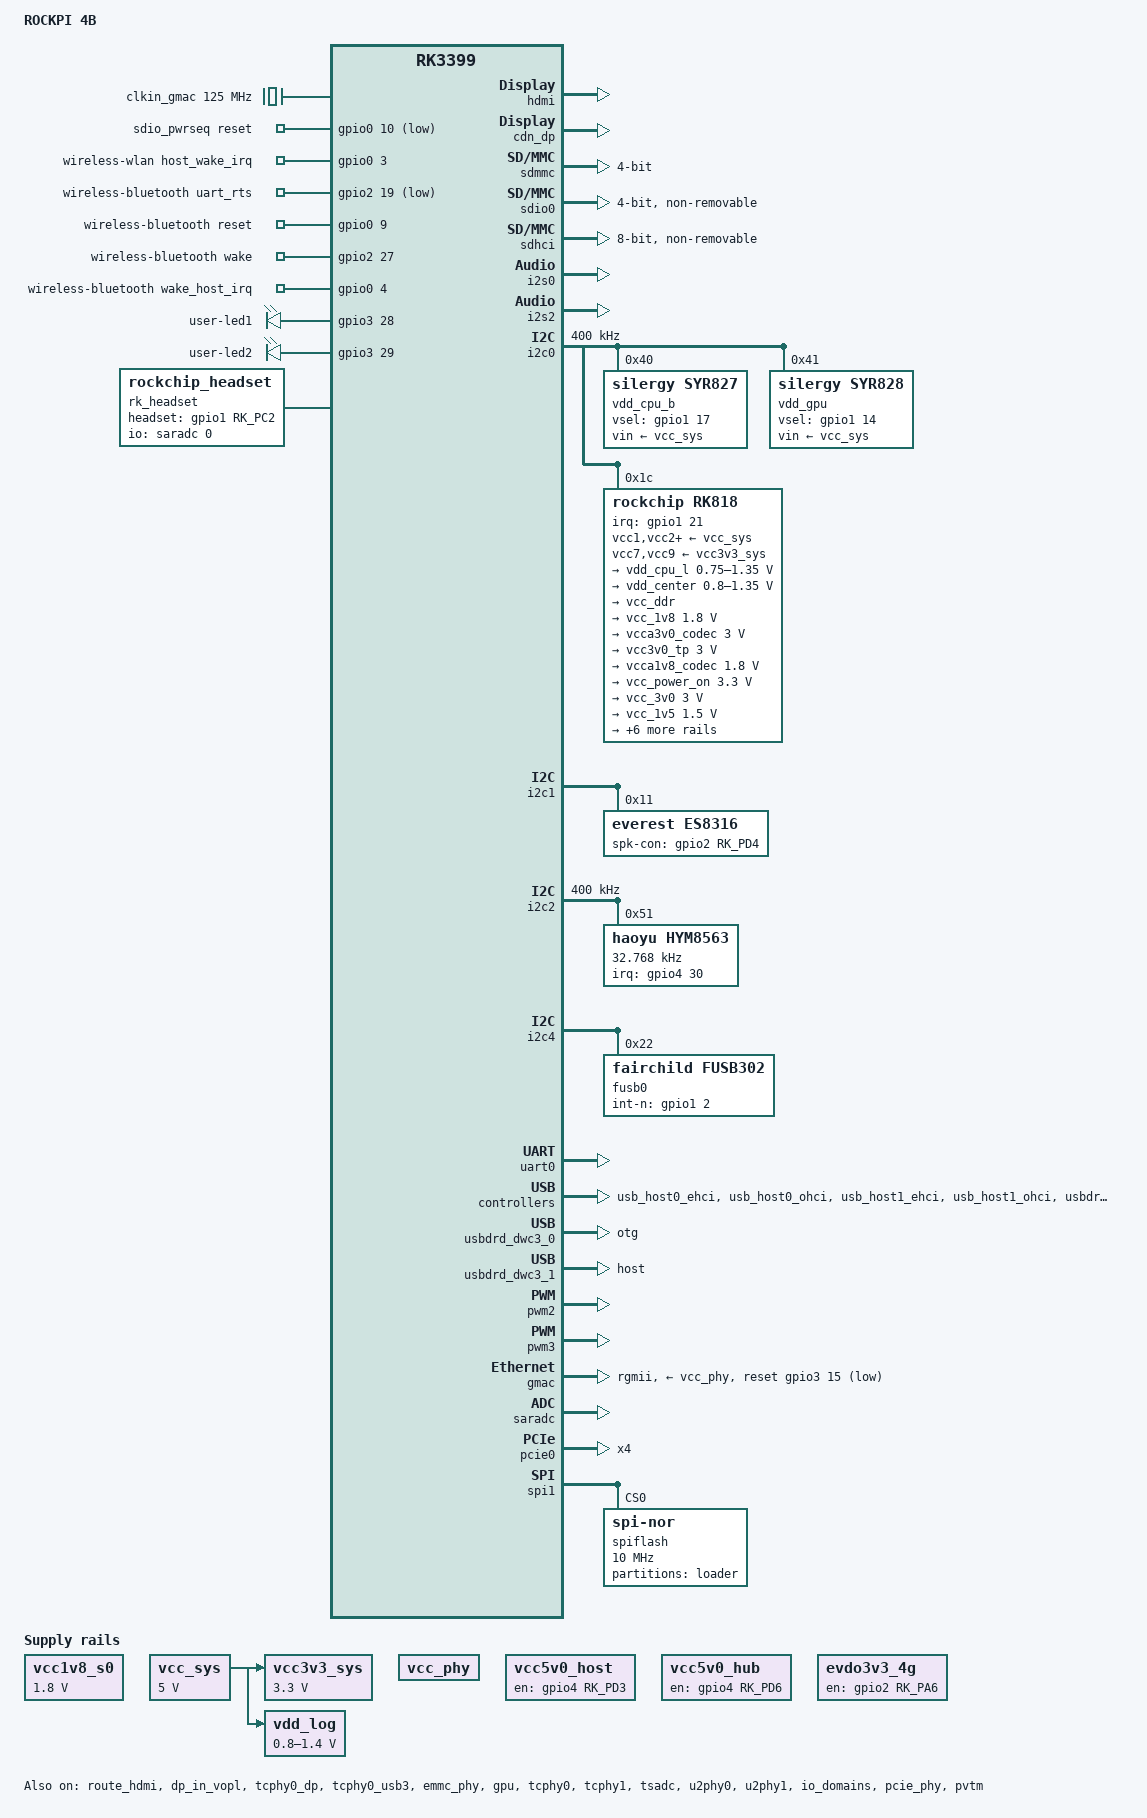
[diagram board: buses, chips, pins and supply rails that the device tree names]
/*
 * Copyright (c) 2016 Fuzhou Rockchip Electronics Co., Ltd
 *
 * This file is dual-licensed: you can use it either under the terms
 * of the GPL or the X11 license, at your option. Note that this dual
 * licensing only applies to this file, and not this project as a
 * whole.
 *
 *  a) This file is free software; you can redistribute it and/or
 *     modify it under the terms of the GNU General Public License as
 *     published by the Free Software Foundation; either version 2 of the
 *     License, or (at your option) any later version.
 *
 *     This file is distributed in the hope that it will be useful,
 *     but WITHOUT ANY WARRANTY; without even the implied warranty of
 *     MERCHANTABILITY or FITNESS FOR A PARTICULAR PURPOSE.  See the
 *     GNU General Public License for more details.
 *
 * Or, alternatively,
 *
 *  b) Permission is hereby granted, free of charge, to any person
 *     obtaining a copy of this software and associated documentation
 *     files (the "Software"), to deal in the Software without
 *     restriction, including without limitation the rights to use,
 *     copy, modify, merge, publish, distribute, sublicense, and/or
 *     sell copies of the Software, and to permit persons to whom the
 *     Software is furnished to do so, subject to the following
 *     conditions:
 *
 *     The above copyright notice and this permission notice shall be
 *     included in all copies or substantial portions of the Software.
 *
 *     THE SOFTWARE IS PROVIDED "AS IS", WITHOUT WARRANTY OF ANY KIND,
 *     EXPRESS OR IMPLIED, INCLUDING BUT NOT LIMITED TO THE WARRANTIES
 *     OF MERCHANTABILITY, FITNESS FOR A PARTICULAR PURPOSE AND
 *     NONINFRINGEMENT. IN NO EVENT SHALL THE AUTHORS OR COPYRIGHT
 *     HOLDERS BE LIABLE FOR ANY CLAIM, DAMAGES OR OTHER LIABILITY,
 *     WHETHER IN AN ACTION OF CONTRACT, TORT OR OTHERWISE, ARISING
 *     FROM, OUT OF OR IN CONNECTION WITH THE SOFTWARE OR THE USE OR
 *     OTHER DEALINGS IN THE SOFTWARE.
 */

/dts-v1/;

#include <dt-bindings/pwm/pwm.h>
#include <dt-bindings/input/input.h>
#include "rk3399.dtsi"
#include "rk3399-android.dtsi"
#include "rk3399-opp.dtsi"
#include "rk3399-vop-clk-set.dtsi"

&firmware_android {
	status = "disabled";
	compatible = "android,firmware";
	boot_devices = "fe330000.sdhci";
	vbmeta {
		status = "disabled";
		compatible = "android,vbmeta";
		parts = "vbmeta,boot,system,vendor,dtbo";
	};
	fstab {
		status = "disabled";
		compatible = "android,fstab";
		vendor {
			compatible = "android,vendor";
			dev = "/dev/block/by-name/vendor";
			type = "ext4";
			mnt_flags = "ro,barrier=1,inode_readahead_blks=8";
			fsmgr_flags = "wait,avb";
		};
	};
};

/ {

	model = "ROCKPI 4B";
	compatible = "rockchip,rockpi","rockchip,rk3399";
	chosen {
	bootargs = "earlycon=uart8250,mmio32,0xff1a0000 swiotlb=1 console=ttyFIQ0 androidboot.baseband=N/A androidboot.veritymode=enforcing androidboot.hardware=rk30board androidboot.console=ttyFIQ0 init=/init initrd=0x62000001,0x00800000 coherent_pool=1m";
	};

	vcc1v8_s0: vcc1v8-s0 {
		compatible = "regulator-fixed";
		regulator-name = "vcc1v8_s0";
		regulator-min-microvolt = <1800000>;
		regulator-max-microvolt = <1800000>;
		regulator-always-on;
	};

	vcc_sys: vcc-sys {
		compatible = "regulator-fixed";
		regulator-name = "vcc_sys";
		regulator-min-microvolt = <5000000>;
		regulator-max-microvolt = <5000000>;
		regulator-always-on;
	};

	vcc_phy: vcc-phy-regulator {
		compatible = "regulator-fixed";
		regulator-name = "vcc_phy";
		regulator-always-on;
		regulator-boot-on;
	};

	vcc3v3_sys: vcc3v3-sys {
		compatible = "regulator-fixed";
		regulator-name = "vcc3v3_sys";
		regulator-min-microvolt = <3300000>;
		regulator-max-microvolt = <3300000>;
		regulator-always-on;
		vin-supply = <&vcc_sys>;
	};

	vcc5v0_host: vcc5v0-host-regulator {
		compatible = "regulator-fixed";
		enable-active-high;
		gpio = <&gpio4 RK_PD3 GPIO_ACTIVE_HIGH>;
		pinctrl-names = "default";
		pinctrl-0 = <&host_vbus_drv>;
		regulator-name = "vcc5v0_host";
		regulator-always-on;
	};

	vcc5v0_hub: vcc5v0-hub-regulator {
		compatible = "regulator-fixed";
		enable-active-high;
		gpio = <&gpio4 RK_PD6 GPIO_ACTIVE_HIGH>;
		pinctrl-names = "default";
		pinctrl-0 = <&usb_hub_en>;
		regulator-name = "vcc5v0-hub";
		regulator-always-on;
	};

	evdo3v3_4g: evdo3v3-4g-regulator {
		compatible = "regulator-fixed";
		enable-active-high;
		gpio = <&gpio2 RK_PA6 GPIO_ACTIVE_HIGH>;
		pinctrl-names = "default";
		pinctrl-0 = <&evdo_en>;
		regulator-name = "evdo3v3-4g";
		regulator-always-on;
	};

	vdd_log: vdd-log {
		compatible = "pwm-regulator";
		pwms = <&pwm2 0 25000 1>;
		regulator-name = "vdd_log";
		regulator-min-microvolt = <800000>;
		regulator-max-microvolt = <1400000>;
		regulator-always-on;
		regulator-boot-on;

		/* for rockchip boot on */
		rockchip,pwm_id= <2>;
		rockchip,pwm_voltage = <900000>;

		vin-supply = <&vcc_sys>;
	};

	clkin_gmac: external-gmac-clock {
		compatible = "fixed-clock";
		clock-frequency = <125000000>;
		clock-output-names = "clkin_gmac";
		#clock-cells = <0>;
	};

	es8316-sound {
		compatible = "simple-audio-card";
		simple-audio-card,format = "i2s";
		simple-audio-card,name = "rockchip,es8316-codec";
		simple-audio-card,mclk-fs = <256>;
		simple-audio-card,widgets =
			"Microphone", "Mic Jack",
			"Headphone", "Headphone Jack";
		simple-audio-card,routing =
			"Mic Jack", "MICBIAS1",
			"IN1P", "Mic Jack",
			"Headphone Jack", "HPOL",
			"Headphone Jack", "HPOR";
		simple-audio-card,cpu {
			sound-dai = <&i2s0>;
		};
		simple-audio-card,codec {
			sound-dai = <&es8316>;
		};
	};

	hdmi_sound: hdmi-sound {
		status = "disabled";
		compatible = "simple-audio-card";
		simple-audio-card,format = "i2s";
		simple-audio-card,mclk-fs = <256>;
		simple-audio-card,name = "rockchip,hdmi";

		simple-audio-card,cpu {
			sound-dai = <&i2s2>;
		};
		simple-audio-card,codec {
			sound-dai = <&dw_hdmi_audio>;
		};
	};

	dw_hdmi_audio: dw-hdmi-audio {
		status = "disabled";
		compatible = "rockchip,dw-hdmi-audio";
		#sound-dai-cells = <0>;
	};

	hdmi_codec: hdmi-codec {
		compatible = "simple-audio-card";
		simple-audio-card,format = "i2s";
		simple-audio-card,mclk-fs = <256>;
		simple-audio-card,name = "rockchiphdmi";

		simple-audio-card,cpu {
			sound-dai = <&i2s2>;
		};

		simple-audio-card,codec {
			sound-dai = <&hdmi>;
		};
	};

	spdif-sound {
		status = "disabled";
		compatible = "simple-audio-card";
		simple-audio-card,name = "ROCKCHIP,SPDIF";
		simple-audio-card,cpu {
			sound-dai = <&spdif>;
		};
		simple-audio-card,codec {
			sound-dai = <&spdif_out>;
		};
	};

	spdif_out: spdif-out {
		status = "disabled";
		compatible = "linux,spdif-dit";
		#sound-dai-cells = <0>;
	};

	sdio_pwrseq: sdio-pwrseq {
		compatible = "mmc-pwrseq-simple";
		clocks = <&rk818 1>;
		clock-names = "ext_clock";
		pinctrl-names = "default";
		pinctrl-0 = <&wifi_enable_h>;

		/*
		 * On the module itself this is one of these (depending
		 * on the actual card populated):
		 * - SDIO_RESET_L_WL_REG_ON
		 * - PDN (power down when low)
		 */
		reset-gpios = <&gpio0 10 GPIO_ACTIVE_LOW>;
	};

	wireless-wlan {
		compatible = "wlan-platdata";
		rockchip,grf = <&grf>;
		wifi_chip_type = "ap6256";
		sdio_vref = <1800>;
		WIFI,host_wake_irq = <&gpio0 3 GPIO_ACTIVE_HIGH>;
		status = "okay";
	};

	wireless-bluetooth {
		compatible = "bluetooth-platdata";
		clocks = <&rk818 1>;
		clock-names = "ext_clock";
		/* wifi-bt-power-toggle; */
		uart_rts_gpios = <&gpio2 19 GPIO_ACTIVE_LOW>;
		pinctrl-names = "default", "rts_gpio";
		pinctrl-0 = <&uart0_rts>;
		pinctrl-1 = <&uart0_gpios>;
		/* BT,power_gpio  = <&gpio3 19 GPIO_ACTIVE_HIGH>; */
		BT,reset_gpio    = <&gpio0 9 GPIO_ACTIVE_HIGH>;
		BT,wake_gpio     = <&gpio2 27 GPIO_ACTIVE_HIGH>;
		BT,wake_host_irq = <&gpio0 4 GPIO_ACTIVE_HIGH>;
		status = "okay";
	};

	gpio-leds {
		compatible = "gpio-leds";
		status = "okay";

		user-led1 {
			gpios = <&gpio3 28 GPIO_ACTIVE_HIGH>;
			linux,default-trigger = "heartbeat";
			default-state = "on";
		};

		user-led2 {
			gpios = <&gpio3 29 GPIO_ACTIVE_HIGH>;
			linux,default-trigger = "heartbeat";
			default-state = "on";
		};
	};

	test-power {
		status = "okay";
	};

	rk_headset {
		compatible = "rockchip_headset";
		headset_gpio = <&gpio1 RK_PC2 GPIO_ACTIVE_HIGH>;
		pinctrl-names = "default";
		pinctrl-0 = <&hp_det>;
		io-channels = <&saradc 0>;
	};
};

&hdmi {
	pinctrl-names = "default";
	pinctrl-0 = <&hdmi_i2c_xfer>, <&hdmi_cec>;
	status = "okay";
	rockchip,phy-table =
		<74250000 0x8009 0x0004 0x0272>,
		<165000000 0x802b 0x0004 0x0209>,
		<297000000 0x8039 0x0005 0x028d>,
		<594000000 0x8039 0x0000 0x019d>,
		<000000000 0x0000 0x0000 0x0000>;
};

&hdmi_in_vopl {
	status = "disabled";
};

&route_hdmi {
	status = "okay";
};

&dp_in_vopb {
	status = "disabled";
};

&dp_in_vopl {
	status = "okay";
};

&tcphy0_dp {
	status = "okay";
};

&tcphy0_usb3 {
	status = "okay";
};

&cdn_dp {
	status = "okay";
	extcon = <&fusb0>;
};

&sdmmc {
	clock-frequency = <100000000>;
	clock-freq-min-max = <100000 100000000>;
	supports-sd;
	bus-width = <4>;
	cap-mmc-highspeed;
	cap-sd-highspeed;
	disable-wp;
	num-slots = <1>;
	//sd-uhs-sdr104;
	vqmmc-supply = <&vcc_sd>;
	pinctrl-names = "default";
	pinctrl-0 = <&sdmmc_clk &sdmmc_cmd &sdmmc_cd &sdmmc_bus4>;
	card-detect-delay = <800>;
	status = "okay";
};

&sdio0 {
	clock-frequency = <100000000>;
	clock-freq-min-max = <200000 100000000>;
	supports-sdio;
	bus-width = <4>;
	disable-wp;
	cap-sd-highspeed;
	cap-sdio-irq;
	keep-power-in-suspend;
	mmc-pwrseq = <&sdio_pwrseq>;
	non-removable;
	num-slots = <1>;
	pinctrl-names = "default";
	pinctrl-0 = <&sdio0_bus4 &sdio0_cmd &sdio0_clk>;
	sd-uhs-sdr104;
	status = "okay";
};

&emmc_phy {
	status = "okay";
};

&sdhci {
	bus-width = <8>;
	mmc-hs400-1_8v;
	supports-emmc;
	non-removable;
	mmc-hs400-enhanced-strobe;
	status = "okay";
};

&i2s0 {
	status = "okay";
	rockchip,i2s-broken-burst-len;
	rockchip,playback-channels = <8>;
	rockchip,capture-channels = <8>;
	#sound-dai-cells = <0>;
};

&i2s2 {
	#sound-dai-cells = <0>;
};

&spdif {
	pinctrl-0 = <&spdif_bus_1>;
	status = "disabled";
	#sound-dai-cells = <0>;
};

&i2c0 {
	status = "okay";
	i2c-scl-rising-time-ns = <168>;
	i2c-scl-falling-time-ns = <4>;
	clock-frequency = <400000>;

	vdd_cpu_b: syr827@40 {
		compatible = "silergy,syr827";
		reg = <0x40>;
		regulator-compatible = "fan53555-reg";
		pinctrl-0 = <&vsel1_gpio>;
		vsel-gpios = <&gpio1 17 GPIO_ACTIVE_HIGH>;
		regulator-name = "vdd_cpu_b";
		regulator-min-microvolt = <712500>;
		regulator-max-microvolt = <1500000>;
		regulator-ramp-delay = <1000>;
		fcs,suspend-voltage-selector = <1>;
		regulator-always-on;
		regulator-boot-on;
		vin-supply = <&vcc_sys>;
		regulator-state-mem {
			regulator-off-in-suspend;
		};
	};

	vdd_gpu: syr828@41 {
		compatible = "silergy,syr828";
		reg = <0x41>;
		regulator-compatible = "fan53555-reg";
		pinctrl-0 = <&vsel2_gpio>;
		vsel-gpios = <&gpio1 14 GPIO_ACTIVE_HIGH>;
		regulator-name = "vdd_gpu";
		regulator-min-microvolt = <712500>;
		regulator-max-microvolt = <1500000>;
		regulator-ramp-delay = <1000>;
		fcs,suspend-voltage-selector = <1>;
		regulator-always-on;
		regulator-boot-on;
		vin-supply = <&vcc_sys>;
		regulator-initial-mode = <1>; /* 1:force PWM 2:auto */
		regulator-state-mem {
			regulator-off-in-suspend;
		};
	};

	rk818: pmic@1c {
		compatible = "rockchip,rk818";
		status = "okay";
		reg = <0x1c>;
		clock-output-names = "rk818-clkout1", "wifibt_32kin";
		interrupt-parent = <&gpio1>;
		interrupts = <21 IRQ_TYPE_LEVEL_LOW>;
		pinctrl-names = "default";
		pinctrl-0 = <&pmic_int_l>;
		rockchip,system-power-controller;
		rk818,support_dc_chg = <1>;/*1: dc chg; 0:usb chg*/
		wakeup-source;
		extcon = <&fusb0>;
		#clock-cells = <1>;

		vcc1-supply = <&vcc_sys>;
		vcc2-supply = <&vcc_sys>;
		vcc3-supply = <&vcc_sys>;
		vcc4-supply = <&vcc_sys>;
		vcc6-supply = <&vcc_sys>;
		vcc7-supply = <&vcc3v3_sys>;
		vcc8-supply = <&vcc_sys>;
		vcc9-supply = <&vcc3v3_sys>;

		regulators {
			vdd_cpu_l: DCDC_REG1 {
				regulator-name = "vdd_cpu_l";
				regulator-always-on;
				regulator-boot-on;
				regulator-min-microvolt = <750000>;
				regulator-max-microvolt = <1350000>;
				regulator-ramp-delay = <6001>;
				regulator-state-mem {
					regulator-off-in-suspend;
				};
			};

			vdd_center: DCDC_REG2 {
				regulator-name = "vdd_center";
				regulator-always-on;
				regulator-boot-on;
				regulator-min-microvolt = <800000>;
				regulator-max-microvolt = <1350000>;
				regulator-ramp-delay = <6001>;
				regulator-state-mem {
					regulator-off-in-suspend;
				};
			};

			vcc_ddr: DCDC_REG3 {
				regulator-name = "vcc_ddr";
				regulator-always-on;
				regulator-boot-on;
				regulator-state-mem {
					regulator-on-in-suspend;
				};
			};

			vcc_1v8: DCDC_REG4 {
				regulator-name = "vcc_1v8";
				regulator-always-on;
				regulator-boot-on;
				regulator-min-microvolt = <1800000>;
				regulator-max-microvolt = <1800000>;
				regulator-state-mem {
					regulator-on-in-suspend;
					regulator-suspend-microvolt = <1800000>;
				};
			};

			vcca3v0_codec: LDO_REG1 {
				regulator-always-on;
				regulator-boot-on;
				regulator-min-microvolt = <3000000>;
				regulator-max-microvolt = <3000000>;
				regulator-name = "vcca3v0_codec";
				regulator-state-mem {
					regulator-off-in-suspend;
				};
			};

			vcc3v0_tp: LDO_REG2 {
				regulator-always-on;
				regulator-boot-on;
				regulator-min-microvolt = <3000000>;
				regulator-max-microvolt = <3000000>;
				regulator-name = "vcc3v0_tp";
				regulator-state-mem {
					regulator-off-in-suspend;
				};
			};

			vcca1v8_codec: LDO_REG3 {
				regulator-always-on;
				regulator-boot-on;
				regulator-min-microvolt = <1800000>;
				regulator-max-microvolt = <1800000>;
				regulator-name = "vcca1v8_codec";
				regulator-state-mem {
					regulator-off-in-suspend;
				};
			};

			vcc_power_on: LDO_REG4 {
				regulator-always-on;
				regulator-boot-on;
				regulator-min-microvolt = <3300000>;
				regulator-max-microvolt = <3300000>;
				regulator-name = "vcc_power_on";
				regulator-state-mem {
					regulator-on-in-suspend;
					regulator-suspend-microvolt = <3300000>;
				};
			};

			vcc_3v0: LDO_REG5 {
				regulator-always-on;
				regulator-boot-on;
				regulator-min-microvolt = <3000000>;
				regulator-max-microvolt = <3000000>;
				regulator-name = "vcc_3v0";
				regulator-state-mem {
					regulator-on-in-suspend;
					regulator-suspend-microvolt = <3000000>;
				};
			};

			vcc_1v5: LDO_REG6 {
				regulator-always-on;
				regulator-boot-on;
				regulator-min-microvolt = <1500000>;
				regulator-max-microvolt = <1500000>;
				regulator-name = "vcc_1v5";
				regulator-state-mem {
					regulator-on-in-suspend;
					regulator-suspend-microvolt = <1500000>;
				};
			};

			vcc1v8_dvp: LDO_REG7 {
				regulator-always-on;
				regulator-boot-on;
				regulator-min-microvolt = <1800000>;
				regulator-max-microvolt = <1800000>;
				regulator-name = "vcc1v8_dvp";
				regulator-state-mem {
					regulator-off-in-suspend;
				};
			};

			vcc3v3_s3: LDO_REG8 {
				regulator-always-on;
				regulator-boot-on;
				regulator-min-microvolt = <3300000>;
				regulator-max-microvolt = <3300000>;
				regulator-name = "vcc3v3_s3";
				regulator-state-mem {
					regulator-off-in-suspend;
				};
			};

			vcc_sd: LDO_REG9 {
				regulator-always-on;
				regulator-boot-on;
				regulator-min-microvolt = <1800000>;
				regulator-max-microvolt = <3000000>;
				regulator-name = "vcc_sd";
				regulator-state-mem {
					regulator-on-in-suspend;
					regulator-suspend-microvolt = <3000000>;
				};
			};

			vcc3v3_s0: SWITCH_REG {
				regulator-always-on;
				regulator-boot-on;
				regulator-name = "vcc3v3_s0";
				regulator-state-mem {
					regulator-on-in-suspend;
				};
			};

			boost_otg: DCDC_BOOST {
				regulator-name = "boost_otg";
				regulator-always-on;
				regulator-boot-on;
				regulator-min-microvolt = <5000000>;
				regulator-max-microvolt = <5000000>;
				regulator-state-mem {
					regulator-on-in-suspend;
					regulator-suspend-microvolt = <5000000>;
				};
			};

			otg_switch: OTG_SWITCH {
				regulator-name = "otg_switch";
			};
		};

		battery {
			compatible = "rk818-battery";
			ocv_table = <3400 3675 3689 3716 3740 3756 3768 3780
				3793 3807 3827 3853 3896 3937 3974 4007 4066
				4110 4161 4217 4308>;
			design_capacity = <7916>;
			design_qmax = <8708>;
			bat_res = <65>;
			max_input_current = <3000>;
			max_chrg_current = <3000>;
			max_chrg_voltage = <4350>;
			sleep_enter_current = <300>;
			sleep_exit_current = <300>;
			power_off_thresd = <3400>;
			zero_algorithm_vol = <3950>;
			fb_temperature = <105>;
			sample_res = <20>;
			max_soc_offset = <60>;
			energy_mode = <0>;
			monitor_sec = <5>;
			virtual_power = <0>;
			power_dc2otg = <0>;
		};
	};
};

&i2c1 {
	status = "okay";
	i2c-scl-rising-time-ns = <300>;
	i2c-scl-falling-time-ns = <15>;

	es8316: es8316@11 {
		#sound-dai-cells = <0>;
		compatible = "everest,es8316";
		reg = <0x11>;
		clocks = <&cru SCLK_I2S_8CH_OUT>;
		clock-names = "mclk";
		spk-con-gpio = <&gpio2 RK_PD4 GPIO_ACTIVE_HIGH>;
		pinctrl-names = "default";
		pinctrl-0 = <&i2s_8ch_mclk>;
		pinctrl-1 = <&es8316_mute>;
	};
};

&i2c2 {
	status = "okay";
	clock-frequency = <400000>;

	hym8563: hym8563@51 {
		compatible = "haoyu,hym8563";
		status = "okay";
		reg = <0x51>;
		#clock-cells = <0>;
		clock-frequency = <32768>;
		clock-output-names = "hym8563";
		pinctrl-names = "default";
		pinctrl-0 = <&hym8563_int>;
		interrupt-parent = <&gpio4>;
		interrupts = <30 IRQ_TYPE_LEVEL_LOW>;
	};
};

&i2c4 {
	status = "okay";
	fusb0: fusb30x@22 {
		compatible = "fairchild,fusb302";
		reg = <0x22>;
		pinctrl-names = "default";
		pinctrl-0 = <&fusb0_int>;
		
		int-n-gpios = <&gpio1 2 GPIO_ACTIVE_HIGH>;
		status = "okay";
	};
};

&cpu_l0 {
	cpu-supply = <&vdd_cpu_l>;
};

&cpu_l1 {
	cpu-supply = <&vdd_cpu_l>;
};

&cpu_l2 {
	cpu-supply = <&vdd_cpu_l>;
};

&cpu_l3 {
	cpu-supply = <&vdd_cpu_l>;
};

&cpu_b0 {
	cpu-supply = <&vdd_cpu_b>;
};

&cpu_b1 {
	cpu-supply = <&vdd_cpu_b>;
};

&gpu {
	status = "okay";
	mali-supply = <&vdd_gpu>;
};

&threshold {
	temperature = <85000>;
};

&target {
	temperature = <100000>;
};

&soc_crit {
	temperature = <105000>;
};

&tcphy0 {
	extcon = <&fusb0>;
	status = "okay";
};

&tcphy1 {
	status = "okay";
};

&tsadc {
	/* tshut mode 0:CRU 1:GPIO */
	rockchip,hw-tshut-mode = <1>;
	/* tshut polarity 0:LOW 1:HIGH */
	rockchip,hw-tshut-polarity = <1>;
	rockchip,hw-tshut-temp = <110000>;
	status = "okay";
};

&u2phy0 {
	status = "okay";
	extcon = <&fusb0>;

	u2phy0_otg: otg-port {
		status = "okay";
	};

	u2phy0_host: host-port {
		phy-supply = <&vcc5v0_host>;
		status = "okay";
	};
};

&u2phy1 {
	status = "okay";

	u2phy1_otg: otg-port {
		status = "okay";
	};

	u2phy1_host: host-port {
		phy-supply = <&vcc5v0_host>;
		status = "okay";
	};
};

&uart0 {
	pinctrl-names = "default";
	pinctrl-0 = <&uart0_xfer &uart0_cts>;
	status = "okay";
};

&uart2 {
	status = "disabled";
};

&uart4 {
	status = "disabled";
};

&usb_host0_ehci {
	status = "okay";
};

&usb_host0_ohci {
	status = "okay";
};

&usb_host1_ehci {
	status = "okay";
};

&usb_host1_ohci {
	status = "okay";
};

&usbdrd3_0 {
	status = "okay";
};

&usbdrd_dwc3_0 {
	dr_mode = "otg";
	extcon = <&fusb0>;
	status = "okay";
};

&usbdrd3_1 {
	status = "okay";
};

&usbdrd_dwc3_1 {
	dr_mode = "host";
	status = "okay";
};

&pwm2 {
	status = "okay";
};

&pwm3 {
	status = "okay";

	interrupts = <GIC_SPI 61 IRQ_TYPE_LEVEL_HIGH 0>;
	compatible = "rockchip,remotectl-pwm";
	remote_pwm_id = <3>;
	handle_cpu_id = <1>;
	remote_support_psci = <1>;

	ir_key1 {
		rockchip,usercode = <0x4040>;
		rockchip,key_table =
			<0xf2	KEY_REPLY>,
			<0xba	KEY_BACK>,
			<0xf4	KEY_UP>,
			<0xf1	KEY_DOWN>,
			<0xef	KEY_LEFT>,
			<0xee	KEY_RIGHT>,
			<0xbd	KEY_HOME>,
			<0xea	KEY_VOLUMEUP>,
			<0xe3	KEY_VOLUMEDOWN>,
			<0xe2	KEY_SEARCH>,
			<0xb2	KEY_POWER>,
			<0xbc	KEY_MUTE>,
			<0xec	KEY_MENU>,
			<0xbf	0x190>,
			<0xe0	0x191>,
			<0xe1	0x192>,
			<0xe9	183>,
			<0xe6	248>,
			<0xe8	185>,
			<0xe7	186>,
			<0xf0	388>,
			<0xbe	0x175>;
	};

	ir_key2 {
		rockchip,usercode = <0xff00>;
		rockchip,key_table =
			<0xf9	KEY_HOME>,
			<0xbf	KEY_BACK>,
			<0xfb	KEY_MENU>,
			<0xaa	KEY_REPLY>,
			<0xb9	KEY_UP>,
			<0xe9	KEY_DOWN>,
			<0xb8	KEY_LEFT>,
			<0xea	KEY_RIGHT>,
			<0xeb	KEY_VOLUMEDOWN>,
			<0xef	KEY_VOLUMEUP>,
			<0xf7	KEY_MUTE>,
			<0xe7	KEY_POWER>,
			<0xfc	KEY_POWER>,
			<0xa9	KEY_VOLUMEDOWN>,
			<0xa8	KEY_VOLUMEDOWN>,
			<0xe0	KEY_VOLUMEDOWN>,
			<0xa5	KEY_VOLUMEDOWN>,
			<0xab	183>,
			<0xb7	388>,
			<0xe8	388>,
			<0xf8	184>,
			<0xaf	185>,
			<0xed	KEY_VOLUMEDOWN>,
			<0xee	186>,
			<0xb3	KEY_VOLUMEDOWN>,
			<0xf1	KEY_VOLUMEDOWN>,
			<0xf2	KEY_VOLUMEDOWN>,
			<0xf3	KEY_SEARCH>,
			<0xb4	KEY_VOLUMEDOWN>,
			<0xbe	KEY_SEARCH>;
	};

	ir_key3 {
		rockchip,usercode = <0x1dcc>;
		rockchip,key_table =
			<0xee	KEY_REPLY>,
			<0xf0	KEY_BACK>,
			<0xf8	KEY_UP>,
			<0xbb	KEY_DOWN>,
			<0xef	KEY_LEFT>,
			<0xed	KEY_RIGHT>,
			<0xfc	KEY_HOME>,
			<0xf1	KEY_VOLUMEUP>,
			<0xfd	KEY_VOLUMEDOWN>,
			<0xb7	KEY_SEARCH>,
			<0xff	KEY_POWER>,
			<0xf3	KEY_MUTE>,
			<0xbf	KEY_MENU>,
			<0xf9	0x191>,
			<0xf5	0x192>,
			<0xb3	388>,
			<0xbe	KEY_1>,
			<0xba	KEY_2>,
			<0xb2	KEY_3>,
			<0xbd	KEY_4>,
			<0xf9	KEY_5>,
			<0xb1	KEY_6>,
			<0xfc	KEY_7>,
			<0xf8	KEY_8>,
			<0xb0	KEY_9>,
			<0xb6	KEY_0>,
			<0xb5	KEY_BACKSPACE>;
	};
};

&gmac {
	phy-supply = <&vcc_phy>;
	phy-mode = "rgmii";
	clock_in_out = "input";
	snps,reset-gpio = <&gpio3 15 GPIO_ACTIVE_LOW>;
	snps,reset-active-low;
	snps,reset-delays-us = <0 10000 50000>;
	assigned-clocks = <&cru SCLK_RMII_SRC>;
	assigned-clock-parents = <&clkin_gmac>;
	pinctrl-names = "default", "sleep";
	pinctrl-0 = <&rgmii_pins>;
	pinctrl-1 = <&rgmii_sleep_pins>;
	tx_delay = <0x28>;
	rx_delay = <0x11>;
	status = "okay";
};

&saradc {
	status = "okay";
};

&i2s2 {
	status = "okay";
};

&io_domains {
	status = "okay";

	bt656-supply = <&vcc_3v0>; /* bt656_gpio2ab_ms */
	audio-supply = <&vcc_1v8>; /* audio_gpio3d4a_ms */
	sdmmc-supply = <&vcc_sd>; /* sdmmc_gpio4b_ms */
	gpio1830-supply = <&vcc_3v0>; /* gpio1833_gpio4cd_ms */
};

&pcie_phy {
	status = "okay";
};

&pcie0 {
	ep-gpios = <&gpio0 RK_PB4 GPIO_ACTIVE_HIGH>;
	num-lanes = <4>;
	pinctrl-names = "default";
	pinctrl-0 = <&pcie_clkreqnb_cpm>;
	status = "okay";
};

&spi1 {
	status = "okay";
	max-freq = <10000000>;

	spiflash: spi-flash@0 {
		#address-cells = <0x1>;
		#size-cells = <1>;
		compatible = "jedec,spi-nor";
		reg = <0x0>;
		status = "okay";
		spi-max-frequency = <10000000>;

		partitions {
			compatible = "fixed-partitions";
			#address-cells = <1>;
			#size-cells = <1>;

			loader@0 {
				label = "loader";
				reg = <0x0 0x400000>;
			};
		};
	};
};

&pinctrl {

	sdio0 {
		sdio0_bus1: sdio0-bus1 {
			rockchip,pins =
				<2 20 RK_FUNC_1 &pcfg_pull_up_20ma>;
		};

		sdio0_bus4: sdio0-bus4 {
			rockchip,pins =
				<2 20 RK_FUNC_1 &pcfg_pull_up_20ma>,
				<2 21 RK_FUNC_1 &pcfg_pull_up_20ma>,
				<2 22 RK_FUNC_1 &pcfg_pull_up_20ma>,
				<2 23 RK_FUNC_1 &pcfg_pull_up_20ma>;
		};

		sdio0_cmd: sdio0-cmd {
			rockchip,pins =
				<2 24 RK_FUNC_1 &pcfg_pull_up_20ma>;
		};

		sdio0_clk: sdio0-clk {
			rockchip,pins =
				<2 25 RK_FUNC_1 &pcfg_pull_none_20ma>;
		};
	};

	hym8563 {
		hym8563_int: hym8563-int {
			rockchip,pins =
				<4 RK_PA2 0 &pcfg_pull_up>;
		};
	};

	sdmmc {
		sdmmc_bus1: sdmmc-bus1 {
			rockchip,pins =
				<4 8 RK_FUNC_1 &pcfg_pull_up_8ma>;
		};

		sdmmc_bus4: sdmmc-bus4 {
			rockchip,pins =
				<4 8 RK_FUNC_1 &pcfg_pull_up_8ma>,
				<4 9 RK_FUNC_1 &pcfg_pull_up_8ma>,
				<4 10 RK_FUNC_1 &pcfg_pull_up_8ma>,
				<4 11 RK_FUNC_1 &pcfg_pull_up_8ma>;
		};

		sdmmc_clk: sdmmc-clk {
			rockchip,pins =
				<4 12 RK_FUNC_1 &pcfg_pull_none_18ma>;
		};

		sdmmc_cmd: sdmmc-cmd {
			rockchip,pins =
				<4 13 RK_FUNC_1 &pcfg_pull_up_8ma>;
		};
	};

	sdio-pwrseq {
		wifi_enable_h: wifi-enable-h {
			rockchip,pins =
				<0 10 RK_FUNC_GPIO &pcfg_pull_none>;
		};
	};

	wireless-bluetooth {
		uart0_gpios: uart0-gpios {
			rockchip,pins =
				<2 19 RK_FUNC_GPIO &pcfg_pull_none>;
		};
	};

	usb2 {
		host_vbus_drv: host-vbus-drv {
			rockchip,pins =
				<4 RK_PD3 RK_FUNC_GPIO &pcfg_pull_none>;
		};
		usb_hub_en: usb-hub-en {
			rockchip,pins =
				<4 RK_PD6 RK_FUNC_GPIO &pcfg_pull_none>;
		};
	};

	pmic {
		pmic_int_l: pmic-int-l {
			rockchip,pins =
				<1 RK_PC5 RK_FUNC_GPIO &pcfg_pull_up>;
		};

		vsel1_gpio: vsel1-gpio {
			rockchip,pins =
				<1 17 RK_FUNC_GPIO &pcfg_pull_down>;
		};

		vsel2_gpio: vsel2-gpio {
			rockchip,pins =
				<1 14 RK_FUNC_GPIO &pcfg_pull_down>;
		};
	};

	gmac {
		rgmii_sleep_pins: rgmii-sleep-pins {
			rockchip,pins =
				<3 15 RK_FUNC_GPIO &pcfg_output_low>;
		};
	};

	i2s0 {
	    i2s0_8ch_bus: i2s0-8ch-bus {
	        rockchip,pins =
	            <3 24 RK_FUNC_1 &pcfg_pull_none>,
	            <3 25 RK_FUNC_1 &pcfg_pull_none>,
	            <3 26 RK_FUNC_1 &pcfg_pull_none>,
	            <3 27 RK_FUNC_1 &pcfg_pull_none>,
	            <3 31 RK_FUNC_1 &pcfg_pull_none>;
	    };

	    i2s_8ch_mclk: i2s-8ch-mclk {
	        rockchip,pins = <4 0 RK_FUNC_1 &pcfg_pull_none>;
	    };
	};

	8316 {
		es8316_mute: es8316-mute{
			rockchip,pins = <2 RK_PD4 RK_FUNC_GPIO &pcfg_pull_none>;
		};
	};

	fusb30x {
		fusb0_int: fusb0-int {
			rockchip,pins =
				<1 2 RK_FUNC_GPIO &pcfg_pull_up>;
		};
	};

	headphone {
		hp_det: hp-det {
			rockchip,pins = <1 RK_PC2 RK_FUNC_GPIO &pcfg_pull_up>;
		};
	};

	evdo {
		evdo_en: evdo-en{
			rockchip,pins = <2 RK_PA6 RK_FUNC_GPIO &pcfg_pull_none>;
		};
	};
};

&pvtm {
	status = "okay";
};

&pmu_pvtm {
	status = "okay";
};

&pmu_io_domains {
	status = "okay";
	pmu1830-supply = <&vcc_1v8>;
};

&rockchip_suspend {
	status = "okay";
	rockchip,sleep-debug-en = <0>;
	rockchip,sleep-mode-config = <
		(0
		| RKPM_SLP_ARMPD
		| RKPM_SLP_PERILPPD
		| RKPM_SLP_DDR_RET
		| RKPM_SLP_PLLPD
		| RKPM_SLP_CENTER_PD
		| RKPM_SLP_AP_PWROFF
		)
	>;
	rockchip,wakeup-config = <
		(0
		| RKPM_GPIO_WKUP_EN
		| RKPM_PWM_WKUP_EN
		)
	>;
	rockchip,pwm-regulator-config = <
		(0
		| PWM2_REGULATOR_EN
		)
	>;
	rockchip,power-ctrl =
		<&gpio1 17 GPIO_ACTIVE_HIGH>,
		<&gpio1 14 GPIO_ACTIVE_HIGH>;
};

&vopb {
	assigned-clocks = <&cru DCLK_VOP0_DIV>;
	assigned-clock-parents = <&cru PLL_VPLL>;
};

&vopl {
	assigned-clocks = <&cru DCLK_VOP1_DIV>;
	assigned-clock-parents = <&cru PLL_CPLL>;
};
